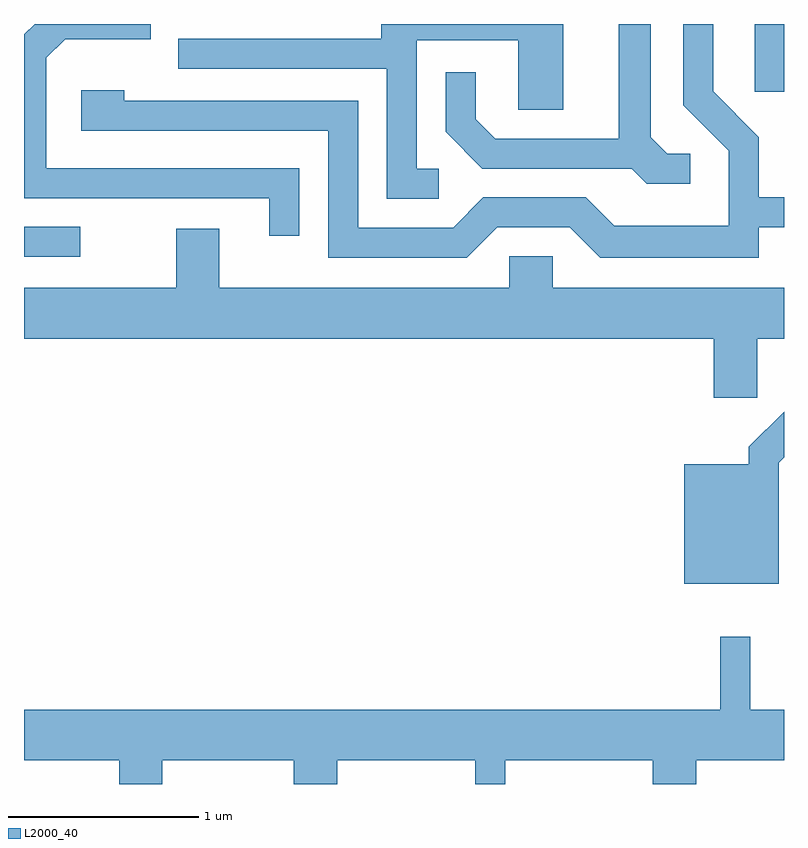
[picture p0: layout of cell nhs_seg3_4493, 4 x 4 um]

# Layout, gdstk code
import gdstk
lib = gdstk.Library(unit=1e-6, precision=1e-09)
def R(c, l, rs):  # rectangles x0, y0, x1, y1
    for r in rs: c.add(gdstk.rectangle(r[:2], r[2:], *l))
def P(c, l, *ps):  # polygons
    for p in ps: c.add(gdstk.Polygon(p, *l))
L2000_40 = (2000, 40)

nhs_seg3_4493 = lib.new_cell('nhs_seg3_4493')
R(nhs_seg3_4493, L2000_40, [(317.611,1128.666,317.908,1128.824), (321.456,1129.536,321.611,1129.892)])
P(nhs_seg3_4493, L2000_40, [(320.102,1128.821),(320.484,1128.821),(320.644,1128.661),(321.479,1128.661),(321.479,1128.821),(321.611,1128.821),(321.611,1128.979),(321.479,1128.979),(321.479,1129.297),(321.239,1129.537),(321.239,1129.892),(321.081,1129.892),(321.081,1129.464),(321.321,1129.224),(321.321,1128.829),(320.717,1128.829),(320.567,1128.979),(320.029,1128.979),(319.869,1128.819),(319.369,1128.819),(319.369,1129.489),(318.139,1129.489),(318.139,1129.544),(317.911,1129.544),(317.911,1129.331),(319.211,1129.331),(319.211,1128.661),(319.942,1128.661)],
  [(321.118,1129.209),(320.997,1129.209),(320.909,1129.297),(320.909,1129.892),(320.741,1129.892),(320.741,1129.289),(320.092,1129.289),(319.989,1129.392),(319.989,1129.638),(319.831,1129.638),(319.831,1129.324),(320.024,1129.131),(320.809,1129.131),(320.889,1129.051),(321.118,1129.051)],
  [(319.059,1129.134),(317.729,1129.134),(317.729,1129.714),(317.827,1129.811),(318.279,1129.811),(318.279,1129.892),(317.667,1129.892),(317.611,1129.837),(317.611,1128.976),(318.901,1128.976),(318.901,1128.778),(319.059,1128.778)],
  [(319.793,1129.129),(319.679,1129.129),(319.679,1129.806),(320.211,1129.806),(320.211,1129.441),(320.449,1129.441),(320.449,1129.892),(319.491,1129.892),(319.491,1129.814),(318.423,1129.814),(318.423,1129.656),(319.521,1129.656),(319.521,1128.971),(319.793,1128.971)],
  [(321.469,1128.236),(321.611,1128.236),(321.611,1128.504),(320.394,1128.504),(320.394,1128.669),(320.166,1128.669),(320.166,1128.504),(318.639,1128.504),(318.639,1128.814),(318.411,1128.814),(318.411,1128.504),(317.611,1128.504),(317.611,1128.236),(321.241,1128.236),(321.241,1127.926),(321.469,1127.926)],
  [(321.584,1127.584),(321.611,1127.611),(321.611,1127.851),(321.426,1127.667),(321.426,1127.574),(321.086,1127.574),(321.086,1126.946),(321.584,1126.946)],
  [(318.339,1126.016),(319.031,1126.016),(319.031,1125.892),(319.259,1125.892),(319.259,1126.016),(319.986,1126.016),(319.986,1125.892),(320.144,1125.892),(320.144,1126.016),(320.921,1126.016),(320.921,1125.892),(321.149,1125.892),(321.149,1126.016),(321.611,1126.016),(321.611,1126.284),(321.434,1126.284),(321.434,1126.668),(321.276,1126.668),(321.276,1126.284),(317.611,1126.284),(317.611,1126.016),(318.111,1126.016),(318.111,1125.892),(318.339,1125.892)])

lib.write_gds('nhs_seg3_4493.gds')
